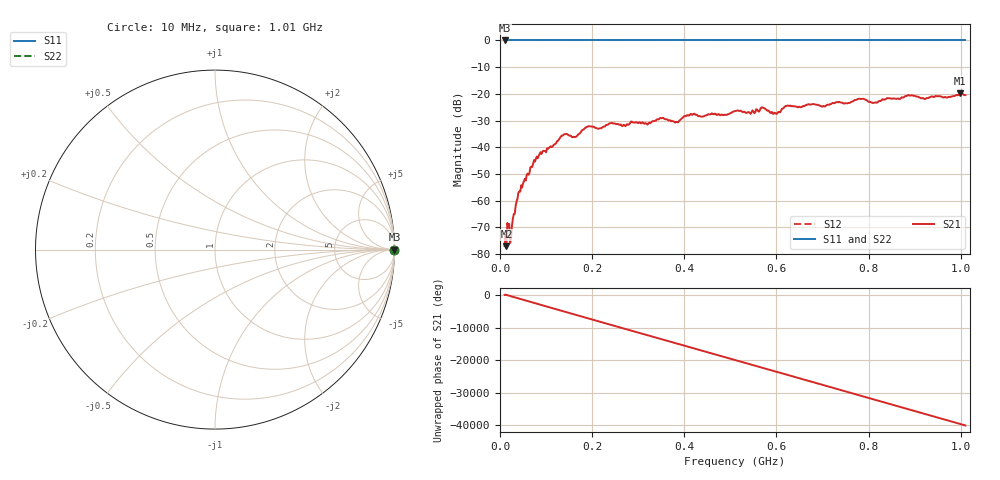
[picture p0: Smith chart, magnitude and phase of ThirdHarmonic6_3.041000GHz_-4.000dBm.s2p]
! 8/17/2025 8:48:20 AM
! C:\ANRITSUVNA\TEMP\TEMP.S2P
! CHANNEL.1
! TR.MEASUREMENT
! RAW.DATA
! RF.CORRECTION.OFF
! AVERAGING.OFF
! IF.BANDWIDTH: 5KHZ
! SWEEPTYPE:  FREQ.SWEEP(Linear)
! Reference Plane Port Info
! PORT:  PORT1  PORT2
! DISTANCE:  0  m  0  m
! TIME:  0  s  0  s
! PHASE.OFFSET:  0  deg.  0  deg.
! LOSS:  0  dB  0  dB
! REF.LOSS:  0  dB  0  dB
! REF.FREQ:  0  Hz  0  Hz
! Power Info
! POWER:  -20  dBm  -20  dBm
! EFF.POWER:  -20  dBm  -20  dBm
! SOURCE.ATTEN:  0  dB  0  dB
! TEST.ATTEN:  0  dB  0  dB
# GHZ S RI R 50.0
! FREQ.GHZ  S11RE  S11IM  S21RE  S21IM  S12RE  S12IM  S22RE  S22IM
!; PortSelection: Port_12
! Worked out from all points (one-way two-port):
!   501 points, 10 MHz to 1.01 GHz, reference 50 ohm
!   highest |S21| = -19.79 dB at 998 MHz (marker M1); lowest = -77.0 dB at 14 MHz (marker M2)
!   lowest |S11| = 0.0 dB at 10 MHz (marker M3)
!   |S11| at or under -10 dB: nowhere
!   |S22| runs from 0.0 to 0.0 dB; largest |S21 - S12| = 1.1
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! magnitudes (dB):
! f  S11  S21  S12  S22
! 10 MHz  0.0  -77.0  0.0  0.0
! 14 MHz  0.0  -77.0  0.0  0.0
! 26 MHz  0.0  -69.4  0.0  0.0
! 32 MHz  0.0  -64.9  0.0  0.0
! 42 MHz  0.0  -56.5  0.0  0.0
! 76 MHz  0.0  -45.3  0.0  0.0
! 136 MHz  0.0  -35.6  0.0  0.0
! 162 MHz  0.0  -36.2  0.0  0.0
! 178 MHz  0.0  -33.6  0.0  0.0
! 192 MHz  0.0  -32.1  0.0  0.0
! 318 MHz  0.0  -31.2  0.0  0.0
! 344 MHz  0.0  -29.5  0.0  0.0
! 384 MHz  0.0  -30.5  0.0  0.0
! 418 MHz  0.0  -27.8  0.0  0.0
! 510 MHz  0.0  -26.5  0.0  0.0
! 570 MHz  0.0  -25.1  0.0  0.0
! 596 MHz  0.0  -27.1  0.0  0.0
! 622 MHz  0.0  -24.5  0.0  0.0
! 678 MHz  0.0  -23.8  0.0  0.0
! 844 MHz  0.0  -21.7  0.0  0.0
! 998 MHz  0.0  -19.8  0.0  0.0
! 1.01 GHz  0.0  -20.5  0.0  0.0
